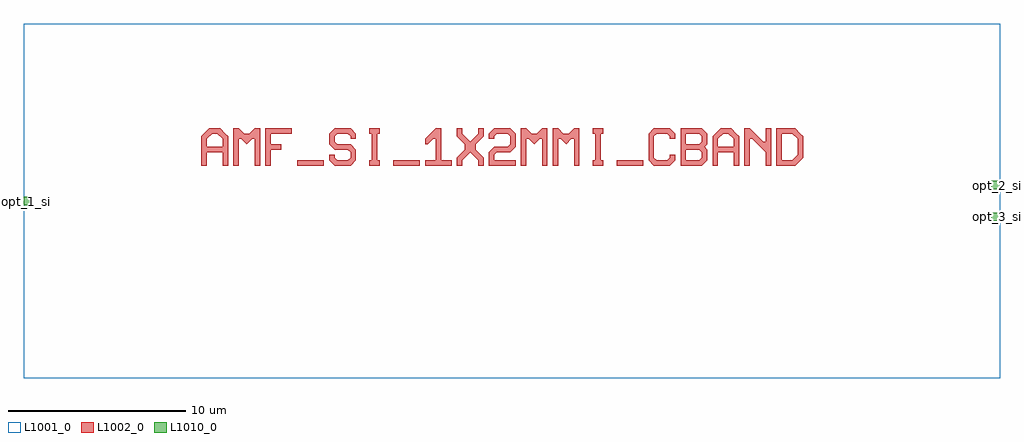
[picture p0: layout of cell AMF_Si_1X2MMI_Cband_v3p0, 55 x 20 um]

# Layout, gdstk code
import gdstk
lib = gdstk.Library(unit=1e-6, precision=1e-09)
def R(c, l, rs):  # rectangles x0, y0, x1, y1
    for r in rs: c.add(gdstk.rectangle(r[:2], r[2:], *l))
def P(c, l, *ps):  # polygons
    for p in ps: c.add(gdstk.Polygon(p, *l))
L1001_0 = (1001, 0)
L1002_0 = (1002, 0)
L1010_0 = (1010, 0)

amf_si_1x2mmi_cband_v3p0 = lib.new_cell('AMF_Si_1X2MMI_Cband_v3p0')
R(amf_si_1x2mmi_cband_v3p0, L1001_0, [(0,-10,55,10)])
R(amf_si_1x2mmi_cband_v3p0, L1002_0, [(15.4,2,16.9,2.3), (20.8,2,22.3,2.3), (33.4,2,34.9,2.3)])
P(amf_si_1x2mmi_cband_v3p0, L1002_0, [(10,2),(10,3.65),(10.45,4.1),(11.05,4.1),(11.35,3.8),(10.6,3.8),(10.3,3.5),(10.3,3.05),(11.2,3.05),(11.2,3.5),(10.9,3.8),(11.35,3.8),(11.5,3.65),(11.5,2),(11.2,2),(11.2,2.75),(10.3,2.75),(10.3,2)],
  [(11.8,2),(11.8,4.1),(12.1,4.1),(12.4,3.8),(12.7,3.8),(13,4.1),(13.3,4.1),(13.3,2),(13,2),(13,3.5),(12.85,3.5),(12.55,3.2),(12.25,3.5),(12.1,3.5),(12.1,2)],
  [(13.6,2),(13.6,4.1),(15.1,4.1),(15.1,3.8),(13.9,3.8),(13.9,3.2),(14.5,3.2),(14.5,2.9),(13.9,2.9),(13.9,2)],
  [(17.5,2),(17.2,2.3),(17.2,2.6),(17.5,2.6),(17.5,2.45),(17.65,2.3),(18.25,2.3),(18.4,2.45),(18.4,2.75),(18.25,2.9),(17.5,2.9),(17.2,3.2),(17.2,3.8),(17.5,4.1),(18.4,4.1),(18.7,3.8),(18.7,3.5),(18.4,3.5),(18.4,3.65),(18.25,3.8),(17.65,3.8),(17.5,3.65),(17.5,3.35),(17.65,3.2),(18.4,3.2),(18.7,2.9),(18.7,2.3),(18.4,2)],
  [(19.45,2),(19.45,2.3),(19.6,2.3),(19.6,3.8),(19.45,3.8),(19.45,4.1),(20.05,4.1),(20.05,3.8),(19.9,3.8),(19.9,2.3),(20.05,2.3),(20.05,2)],
  [(22.6,2),(22.6,2.3),(23.2,2.3),(23.2,3.5),(23.05,3.5),(22.75,3.2),(22.6,3.2),(22.6,3.5),(23.2,4.1),(23.5,4.1),(23.5,2.3),(24.1,2.3),(24.1,2)],
  [(24.4,2),(24.4,2.45),(24.85,2.9),(24.85,3.2),(24.4,3.65),(24.4,4.1),(24.7,4.1),(24.7,3.8),(25.15,3.35),(25.6,3.8),(25.6,4.1),(25.9,4.1),(25.9,3.65),(25.45,3.2),(25.45,2.9),(25.9,2.45),(25.9,2),(25.6,2),(25.6,2.3),(25.15,2.75),(24.7,2.3),(24.7,2)],
  [(26.2,2),(26.2,2.75),(26.5,3.05),(27.25,3.05),(27.4,3.2),(27.4,3.65),(27.25,3.8),(26.65,3.8),(26.5,3.65),(26.5,3.5),(26.2,3.5),(26.2,3.8),(26.5,4.1),(27.4,4.1),(27.7,3.8),(27.7,3.05),(27.4,2.75),(26.65,2.75),(26.5,2.6),(26.5,2.3),(27.7,2.3),(27.7,2)],
  [(28,2),(28,4.1),(28.3,4.1),(28.6,3.8),(28.9,3.8),(29.2,4.1),(29.5,4.1),(29.5,2),(29.2,2),(29.2,3.5),(29.05,3.5),(28.75,3.2),(28.45,3.5),(28.3,3.5),(28.3,2)],
  [(29.8,2),(29.8,4.1),(30.1,4.1),(30.4,3.8),(30.7,3.8),(31,4.1),(31.3,4.1),(31.3,2),(31,2),(31,3.5),(30.85,3.5),(30.55,3.2),(30.25,3.5),(30.1,3.5),(30.1,2)],
  [(32.05,2),(32.05,2.3),(32.2,2.3),(32.2,3.8),(32.05,3.8),(32.05,4.1),(32.65,4.1),(32.65,3.8),(32.5,3.8),(32.5,2.3),(32.65,2.3),(32.65,2)],
  [(35.5,2),(35.2,2.3),(35.2,3.8),(35.5,4.1),(36.4,4.1),(36.7,3.8),(36.7,3.5),(36.4,3.5),(36.4,3.65),(36.25,3.8),(35.65,3.8),(35.5,3.65),(35.5,2.45),(35.65,2.3),(36.25,2.3),(36.4,2.45),(36.4,2.6),(36.7,2.6),(36.7,2.3),(36.4,2)],
  [(37,2),(37,4.1),(38.2,4.1),(38.5,3.8),(37.3,3.8),(37.3,3.2),(38.05,3.2),(38.2,3.35),(38.2,3.65),(38.05,3.8),(38.5,3.8),(38.5,3.2),(38.35,3.05),(38.5,2.9),(37.3,2.9),(37.3,2.3),(38.05,2.3),(38.2,2.45),(38.2,2.75),(38.05,2.9),(38.5,2.9),(38.5,2.3),(38.2,2)],
  [(38.8,2),(38.8,3.65),(39.25,4.1),(39.85,4.1),(40.15,3.8),(39.4,3.8),(39.1,3.5),(39.1,3.05),(40,3.05),(40,3.5),(39.7,3.8),(40.15,3.8),(40.3,3.65),(40.3,2),(40,2),(40,2.75),(39.1,2.75),(39.1,2)],
  [(40.6,2),(40.6,4.1),(40.9,4.1),(41.65,3.35),(41.8,3.35),(41.8,4.1),(42.1,4.1),(42.1,2),(41.8,2),(41.8,2.75),(41.05,3.5),(40.9,3.5),(40.9,2)],
  [(42.4,2),(42.4,4.1),(43.45,4.1),(43.75,3.8),(42.7,3.8),(42.7,2.3),(43.3,2.3),(43.6,2.6),(43.6,3.5),(43.3,3.8),(43.75,3.8),(43.9,3.65),(43.9,2.45),(43.45,2)])
R(amf_si_1x2mmi_cband_v3p0, L1010_0, [(54.5,-1.15,55,-0.65), (0,-0.25,0.5,0.25), (54.5,0.65,55,1.15)])
amf_si_1x2mmi_cband_v3p0.add(gdstk.Label('opt_2_si', (55,0.9), layer=1010, texttype=0))
amf_si_1x2mmi_cband_v3p0.add(gdstk.Label('opt_3_si', (55,-0.9), layer=1010, texttype=0))
amf_si_1x2mmi_cband_v3p0.add(gdstk.Label('opt_1_si', (0,0), layer=1010, texttype=0))

lib.write_gds('AMF_Si_1X2MMI_Cband_v3p0.gds')
